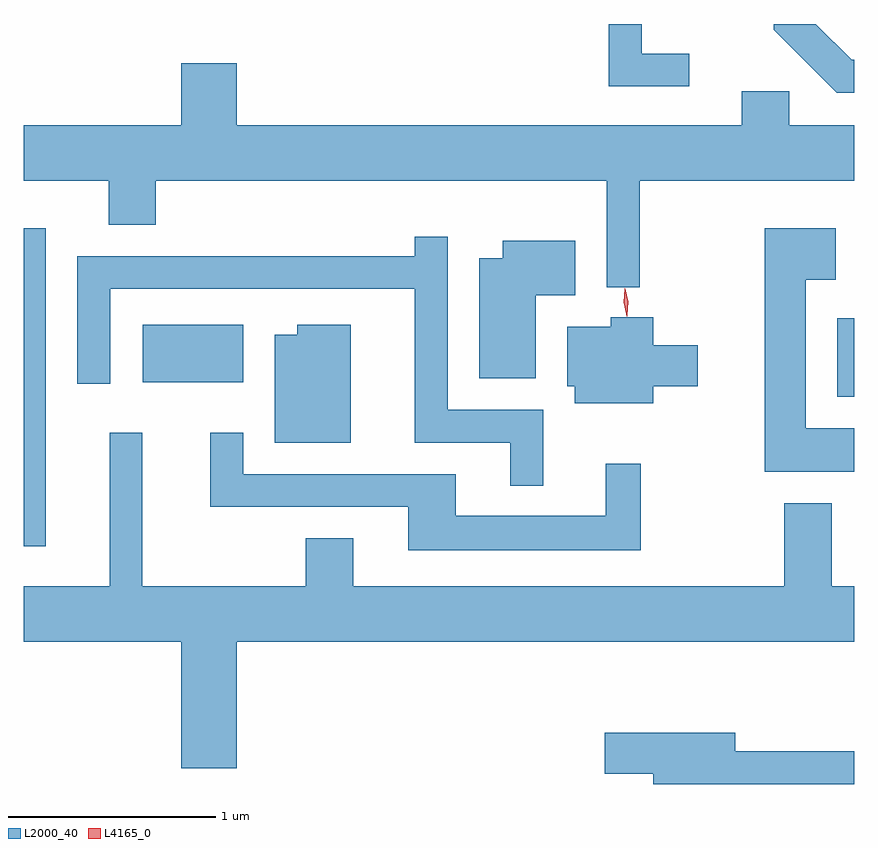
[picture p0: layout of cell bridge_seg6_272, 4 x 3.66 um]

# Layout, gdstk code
import gdstk
lib = gdstk.Library(unit=1e-6, precision=1e-09)
def R(c, l, rs):  # rectangles x0, y0, x1, y1
    for r in rs: c.add(gdstk.rectangle(r[:2], r[2:], *l))
def P(c, l, *ps):  # polygons
    for p in ps: c.add(gdstk.Polygon(p, *l))
L2000_40 = (2000, 40)
L4165_0 = (4165, 0)

bridge_seg6_272 = lib.new_cell('bridge_seg6_272')
R(bridge_seg6_272, L2000_40, [(1253.278,1563.816,1253.384,1565.349), (1257.196,1564.536,1257.278,1564.914), (1253.851,1564.606,1254.334,1564.884)])
P(bridge_seg6_272, L2000_40, [(1257.278,1566.159),(1257.267,1566.159),(1257.094,1566.332),(1256.891,1566.332),(1256.891,1566.304),(1257.194,1566.001),(1257.278,1566.001)],
  [(1256.483,1566.189),(1256.254,1566.189),(1256.254,1566.332),(1256.096,1566.332),(1256.096,1566.031),(1256.483,1566.031)],
  [(1256.244,1565.576),(1257.278,1565.576),(1257.278,1565.844),(1256.964,1565.844),(1256.964,1566.009),(1256.736,1566.009),(1256.736,1565.844),(1254.304,1565.844),(1254.304,1566.144),(1254.036,1566.144),(1254.036,1565.844),(1253.278,1565.844),(1253.278,1565.576),(1253.686,1565.576),(1253.686,1565.366),(1253.914,1565.366),(1253.914,1565.576),(1256.086,1565.576),(1256.086,1565.063),(1256.244,1565.063)],
  [(1257.278,1564.384),(1257.044,1564.384),(1257.044,1565.101),(1257.189,1565.101),(1257.189,1565.349),(1256.846,1565.349),(1256.846,1564.176),(1257.278,1564.176)],
  [(1255.779,1564.474),(1255.319,1564.474),(1255.319,1565.308),(1255.161,1565.308),(1255.161,1565.214),(1253.536,1565.214),(1253.536,1564.598),(1253.694,1564.598),(1253.694,1565.056),(1255.161,1565.056),(1255.161,1564.316),(1255.621,1564.316),(1255.621,1564.108),(1255.779,1564.108)],
  [(1255.744,1565.026),(1255.934,1565.026),(1255.934,1565.289),(1255.586,1565.289),(1255.586,1565.204),(1255.471,1565.204),(1255.471,1564.626),(1255.744,1564.626)],
  [(1256.309,1564.586),(1256.524,1564.586),(1256.524,1564.784),(1256.309,1564.784),(1256.309,1564.919),(1256.106,1564.919),(1256.106,1564.874),(1255.896,1564.874),(1255.896,1564.586),(1255.931,1564.586),(1255.931,1564.506),(1256.309,1564.506)],
  [(1254.854,1564.884),(1254.596,1564.884),(1254.596,1564.834),(1254.486,1564.834),(1254.486,1564.316),(1254.854,1564.316)],
  [(1254.304,1563.356),(1257.278,1563.356),(1257.278,1563.624),(1257.169,1563.624),(1257.169,1564.024),(1256.941,1564.024),(1256.941,1563.624),(1254.864,1563.624),(1254.864,1563.854),(1254.636,1563.854),(1254.636,1563.624),(1253.849,1563.624),(1253.849,1564.363),(1253.691,1564.363),(1253.691,1563.624),(1253.278,1563.624),(1253.278,1563.356),(1254.036,1563.356),(1254.036,1562.746),(1254.304,1562.746)],
  [(1256.249,1564.213),(1256.081,1564.213),(1256.081,1563.964),(1255.359,1563.964),(1255.359,1564.164),(1254.334,1564.164),(1254.334,1564.363),(1254.176,1564.363),(1254.176,1564.006),(1255.131,1564.006),(1255.131,1563.796),(1256.249,1563.796)],
  [(1257.278,1562.829),(1256.704,1562.829),(1256.704,1562.919),(1256.076,1562.919),(1256.076,1562.721),(1256.311,1562.721),(1256.311,1562.671),(1257.278,1562.671)])
P(bridge_seg6_272, L4165_0, [(1256.182,1564.924),(1256.168,1564.991),(1256.172,1565.059),(1256.173,1565.06),(1256.173,1565.059),(1256.188,1564.992),(1256.184,1564.924),(1256.183,1564.924)],
  [(1256.185,1564.93),(1256.169,1564.992),(1256.172,1565.056),(1256.173,1565.056),(1256.174,1565.056),(1256.189,1564.994),(1256.186,1564.93),(1256.186,1564.93)])

lib.write_gds('bridge_seg6_272.gds')
